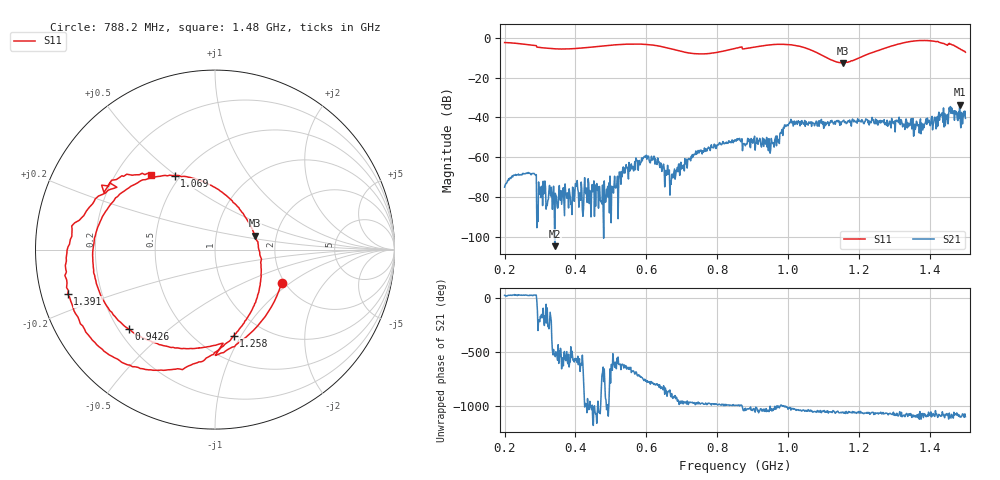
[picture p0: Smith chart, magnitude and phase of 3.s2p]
! NanoVNA-App
! Date: 2024-06-25 16:52:41
! Start: 200MHz Stop: 1.5GHz Points: 801
! S-Parameter data: F S11 S21 S12 S22
# Hz S RI R 50
!  Frequency  S11_Real  S11_Imag  S21_Real  S21_Imag  S12_Real  S12_Imag  S22_Real  S22_Imag
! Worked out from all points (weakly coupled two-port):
!   801 points, 200 MHz to 1.5 GHz, reference 50 ohm
!   highest |S21| = -33.70 dB at 1.484 GHz (marker M1); lowest = -104.8 dB at 341.4 MHz (marker M2)
!   lowest |S11| = -12.6 dB at 1.155 GHz (marker M3), VSWR 1.61, Z = 77.1 + j12.6 ohm
!   |S11| at or under -10 dB: 1.109 GHz to 1.202 GHz (92.84 MHz wide, 8.04 % of centre)
!   S12 and S22 are empty: the file has one direction only
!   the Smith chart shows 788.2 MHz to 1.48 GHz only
!   S11 on the Smith chart (normalised r, x): 788.2 MHz: 1.93, -0.86; 942.6 MHz: 0.24, -0.37; 1.069 GHz: 0.47, +0.49; 1.258 GHz: 0.74, -0.93; 1.391 GHz: 0.08, -0.15; 1.48 GHz: 0.35, +0.41
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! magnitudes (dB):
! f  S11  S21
! 200 MHz  -2.4  -75.1
! 282.9 MHz  -3.8  -68.2
! 297.5 MHz  -4.8  -78.8
! 341.4 MHz  -5.5  -104.8
! 417.8 MHz  -5.1  -75.9
! 489.2 MHz  -3.9  -77.1
! 593.2 MHz  -3.3  -59.8
! 633.9 MHz  -4.1  -62.2
! 672.9 MHz  -5.7  -68.6
! 788.2 MHz  -7.6  -55.2
! 850 MHz  -5.4  -51.3
! 942.6 MHz  -3.7  -51.1
! 1.006 GHz  -3.5  -42.7
! 1.068 GHz  -6.4  -42.5
! 1.069 GHz  -6.6  -43.0
! 1.155 GHz  -12.6  -41.7
! 1.258 GHz  -6.2  -42.5
! 1.284 GHz  -4.6  -43.4
! 1.391 GHz  -1.3  -43.5
! 1.48 GHz  -5.2  -37.3
! 1.484 GHz  -5.4  -33.7
! 1.5 GHz  -7.2  -40.5
